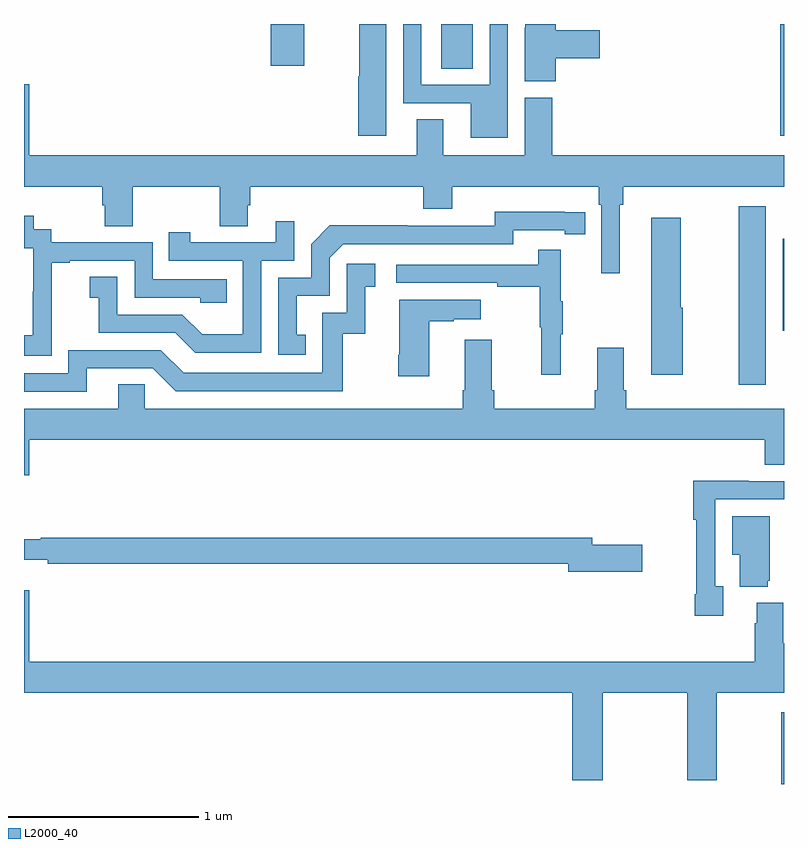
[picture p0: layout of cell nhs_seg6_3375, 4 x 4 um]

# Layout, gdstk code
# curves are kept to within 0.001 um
import gdstk
lib = gdstk.Library(unit=1e-6, precision=1e-09)
def R(c, l, rs):  # rectangles x0, y0, x1, y1
    for r in rs: c.add(gdstk.rectangle(r[:2], r[2:], *l))
def P(c, l, *ps):  # polygons
    for p in ps: c.add(gdstk.Polygon(p, *l))
L2000_40 = (2000, 40)

nhs_seg6_3375 = lib.new_cell('nhs_seg6_3375')
R(nhs_seg6_3375, L2000_40, [(312.985,969.5,313,969.877), (312.763,971.601,312.904,972.541), (312.993,971.886,313,972.369), (312.98,972.912,313,973.5), (311.195,973.264,311.362,973.5), (310.298,973.281,310.476,973.5)])
P(nhs_seg6_3375, L2000_40, [(310.906,973.5),(310.765,973.5),(310.765,973.224),(310.76,973.224),(310.76,972.912),(310.906,972.912)],
  [(311.547,973.5),(311.451,973.5),(311.451,973.179),(311.091,973.179),(311.091,973.5),(310.995,973.5),(310.995,973.083),(311.351,973.083),(311.351,972.902),(311.547,972.902)],
  [(311.798,973.319),(312.031,973.319),(312.031,973.466),(311.798,973.466),(311.798,973.5),(311.637,973.5),(311.637,973.481),(311.636,973.481),(311.636,973.198),(311.798,973.198)],
  [(311.78,973.113),(311.636,973.113),(311.636,972.808),(311.206,972.808),(311.206,972.998),(311.066,972.998),(311.066,972.808),(309.028,972.808),(309.028,973.183),(309,973.183),(309,972.644),(309.413,972.644),(309.413,972.546),(309.425,972.546),(309.425,972.436),(309.573,972.436),(309.573,972.644),(310.03,972.644),(310.03,972.436),(310.177,972.436),(310.177,972.546),(310.19,972.546),(310.19,972.644),(311.102,972.644),(311.102,972.527),(311.254,972.527),(311.254,972.644),(312.026,972.644),(312.026,972.548),(312.039,972.548),(312.039,972.189),(312.136,972.189),(312.136,972.548),(312.155,972.548),(312.155,972.644),(313,972.644),(313,972.808),(311.78,972.808)],
  [(310.484,971.865),(310.435,971.865),(310.435,972.069),(310.608,972.069),(310.608,972.27),(310.68,972.342),(311.574,972.342),(311.574,972.414),(311.846,972.414),(311.846,972.394),(311.954,972.394),(311.954,972.51),(311.478,972.511),(311.478,972.438),(311.018,972.438),(311.018,972.44),(310.61,972.44),(310.512,972.342),(310.512,972.165),(310.338,972.165),(310.338,971.76),(310.484,971.76)],
  [(309.147,971.959),(309.146,971.959),(309.146,972.243),(309.241,972.243),(309.241,972.255),(309.582,972.255),(309.582,972.06),(309.927,972.06),(309.927,972.033),(310.067,972.033),(310.067,972.156),(309.678,972.156),(309.678,972.351),(309.144,972.351),(309.144,972.42),(309.052,972.42),(309.052,972.49),(309,972.49),(309,972.321),(309.048,972.321),(309.048,972.092),(309.047,972.092),(309.047,971.863),(309,971.863),(309,971.753),(309.147,971.753)],
  [(312.466,972.006),(312.456,972.006),(312.456,972.481),(312.302,972.481),(312.302,971.654),(312.466,971.654)],
  [(310.248,972.255),(310.422,972.255),(310.422,972.463),(310.325,972.463),(310.325,972.351),(309.874,972.351),(309.874,972.403),(309.763,972.403),(309.763,972.255),(310.152,972.255),(310.152,971.866),(309.938,971.866),(309.834,971.97),(309.492,971.97),(309.492,972.169),(309.345,972.169),(309.345,972.059),(309.394,972.059),(309.394,971.874),(309.797,971.874),(309.902,971.769),(310.248,971.769)],
  [(311.825,971.867),(311.836,971.867),(311.836,972.041),(311.825,972.041),(311.825,972.313),(311.707,972.313),(311.707,972.234),(310.959,972.234),(310.959,972.138),(311.491,972.138),(311.491,972.118),(311.715,972.118),(311.715,971.904),(311.722,971.904),(311.722,971.655),(311.825,971.655)],
  [(309.331,971.688),(309.678,971.688),(309.798,971.568),(310.678,971.568),(310.678,971.871),(310.796,971.871),(310.796,972.117),(310.849,972.117),(310.849,972.238),(310.698,972.238),(310.698,971.979),(310.569,971.979),(310.569,971.664),(309.84,971.664),(309.72,971.784),(309.234,971.784),(309.234,971.661),(309,971.661),(309,971.565),(309.331,971.565)],
  [(311.134,971.935),(311.261,971.935),(311.261,971.945),(311.404,971.945),(311.404,972.049),(310.976,972.049),(310.976,971.758),(310.969,971.758),(310.969,971.646),(311.134,971.646)],
  [(311.321,971.839),(311.321,971.572),(311.309,971.572),(311.309,971.476),(309.636,971.476),(309.636,971.603),(309.497,971.603),(309.497,971.476),(309,971.476),(309,971.124),(309.028,971.124),(309.028,971.312),(312.899,971.312),(312.899,971.179),(313,971.179),(313,971.476),(312.17,971.476),(312.17,971.572),(312.157,971.572),(312.157,971.797),(312.017,971.797),(312.017,971.572),(312.005,971.572),(312.005,971.476),(311.474,971.476),(311.474,971.572),(311.461,971.572),(311.461,971.839)],
  [(312.679,970.542),(312.639,970.542),(312.639,970.998),(313,970.998),(313,971.094),(312.815,971.094),(312.815,971.096),(312.523,971.096),(312.523,970.891),(312.538,970.891),(312.538,970.498),(312.531,970.498),(312.531,970.386),(312.679,970.386)],
  [(312.914,970.569),(312.925,970.569),(312.925,970.909),(312.728,970.909),(312.728,970.706),(312.767,970.706),(312.767,970.538),(312.914,970.538)],
  [(312.253,970.76),(311.992,970.76),(311.992,970.796),(309.088,970.796),(309.088,970.789),(309,970.789),(309,970.679),(309.124,970.679),(309.124,970.66),(311.864,970.66),(311.864,970.618),(312.253,970.618)],
  [(309.028,970.519),(309,970.519),(309,969.98),(311.885,969.98),(311.885,969.519),(312.045,969.519),(312.045,969.98),(312.49,969.98),(312.49,969.519),(312.645,969.519),(312.645,969.98),(313,969.98),(313,970.24),(312.997,970.24),(312.997,970.453),(312.857,970.453),(312.857,970.346),(312.845,970.346),(312.845,970.144),(309.028,970.144)])

lib.write_gds('nhs_seg6_3375.gds')
